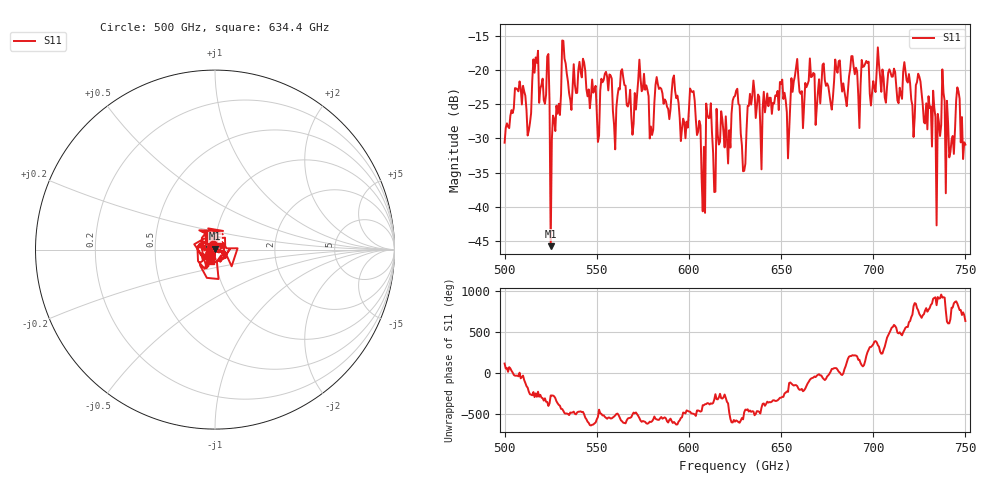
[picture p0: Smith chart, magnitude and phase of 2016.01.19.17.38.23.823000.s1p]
!Created with skrf (http://scikit-rf.org).
# GHz S RI R 50.0
!freq ReS11 ImS11
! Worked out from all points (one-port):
!   401 points, 500 GHz to 750 GHz, reference 50 ohm
!   lowest |S11| = -45.8 dB at 525 GHz (marker M1), VSWR 1.01, Z = 50.1 + j0.509 ohm
!   |S11| at or under -10 dB: start of sweep to end of sweep
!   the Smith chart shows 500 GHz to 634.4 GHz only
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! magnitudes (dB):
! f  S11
! 500 GHz  -30.6
! 506.9 GHz  -22.8
! 513.1 GHz  -28.9
! 516.9 GHz  -18.1
! 525 GHz  -45.8
! 531.2 GHz  -15.6
! 550 GHz  -26.2
! 556.2 GHz  -23.0
! 560 GHz  -31.6
! 562.5 GHz  -22.8
! 574.4 GHz  -23.1
! 580 GHz  -29.5
! 583.1 GHz  -22.0
! 593.8 GHz  -23.7
! 601.9 GHz  -23.2
! 607.5 GHz  -40.7
! 610.6 GHz  -27.0
! 614.4 GHz  -37.8
! 625 GHz  -23.8
! 629.4 GHz  -34.8
! 634.4 GHz  -23.8
! 653.8 GHz  -32.9
! 656.2 GHz  -23.2
! 687.5 GHz  -19.8
! 718.8 GHz  -21.8
! 735.6 GHz  -27.6
! 745.6 GHz  -22.5
! 750 GHz  -30.9
